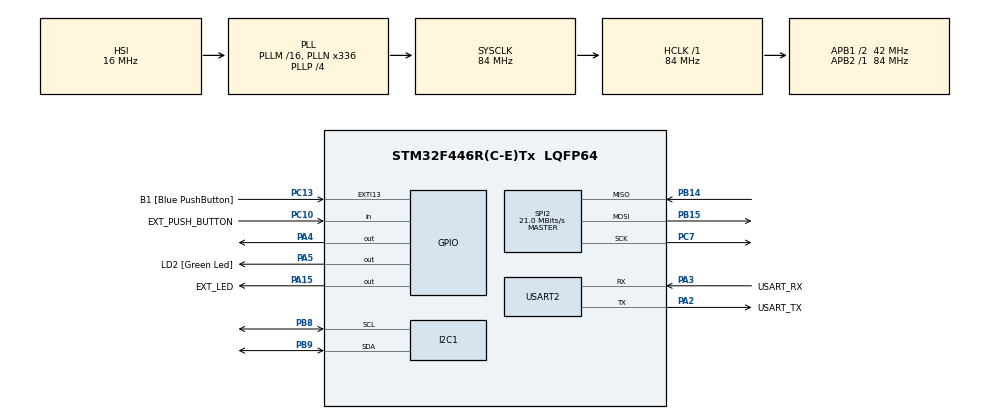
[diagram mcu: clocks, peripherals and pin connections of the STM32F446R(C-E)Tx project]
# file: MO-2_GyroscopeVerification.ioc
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Dma.I2C1_RX.1.Direction=DMA_PERIPH_TO_MEMORY
Dma.I2C1_RX.1.FIFOMode=DMA_FIFOMODE_DISABLE
Dma.I2C1_RX.1.Instance=DMA1_Stream0
Dma.I2C1_RX.1.MemDataAlignment=DMA_MDATAALIGN_BYTE
Dma.I2C1_RX.1.MemInc=DMA_MINC_ENABLE
Dma.I2C1_RX.1.Mode=DMA_NORMAL
Dma.I2C1_RX.1.PeriphDataAlignment=DMA_PDATAALIGN_BYTE
Dma.I2C1_RX.1.PeriphInc=DMA_PINC_DISABLE
Dma.I2C1_RX.1.Priority=DMA_PRIORITY_LOW
Dma.I2C1_TX.0.Direction=DMA_MEMORY_TO_PERIPH
Dma.I2C1_TX.0.FIFOMode=DMA_FIFOMODE_DISABLE
Dma.I2C1_TX.0.Instance=DMA1_Stream6
Dma.I2C1_TX.0.MemDataAlignment=DMA_MDATAALIGN_BYTE
Dma.I2C1_TX.0.MemInc=DMA_MINC_ENABLE
Dma.I2C1_TX.0.Mode=DMA_NORMAL
Dma.I2C1_TX.0.PeriphDataAlignment=DMA_PDATAALIGN_BYTE
Dma.I2C1_TX.0.PeriphInc=DMA_PINC_DISABLE
Dma.I2C1_TX.0.Priority=DMA_PRIORITY_LOW
Dma.Request0=I2C1_TX
Dma.Request1=I2C1_RX
Mcu.Family=STM32F4
Mcu.Name=STM32F446R(C-E)Tx
Mcu.Package=LQFP64
NVIC.DMA1_Stream0_IRQn=true\:0\:0\:false\:false\:true\:false\:true\:true
NVIC.DMA1_Stream6_IRQn=true\:0\:0\:false\:false\:true\:false\:true\:true
NVIC.PriorityGroup=NVIC_PRIORITYGROUP_0
PA13.GPIO_Label=TMS
PA13.Mode=Serial_Wire
PA13.Signal=SYS_JTMS-SWDIO
PA14.GPIO_Label=TCK
PA14.Mode=Serial_Wire
PA14.Signal=SYS_JTCK-SWCLK
PA15.GPIO_Label=EXT_LED
PA15.GPIO_Speed=GPIO_SPEED_FREQ_HIGH
PA15.Signal=GPIO_Output
PA2.GPIO_Label=USART_TX
PA2.Mode=Asynchronous
PA2.Signal=USART2_TX
PA3.GPIO_Label=USART_RX
PA3.Mode=Asynchronous
PA3.Signal=USART2_RX
PA4.GPIO_PuPd=GPIO_PULLUP
PA4.Signal=GPIO_Output
PA5.GPIO_Label=LD2 [Green Led]
PA5.Signal=GPIO_Output
PB14.GPIO_PuPd=GPIO_PULLUP
PB14.Mode=Full_Duplex_Master
PB14.Signal=SPI2_MISO
PB15.GPIO_PuPd=GPIO_PULLUP
PB15.Mode=Full_Duplex_Master
PB15.Signal=SPI2_MOSI
PB3.GPIO_Label=SWO
PB3.Signal=SYS_JTDO-SWO
PB8.GPIO_Pu=GPIO_PULLUP
PB8.Mode=I2C
PB8.Signal=I2C1_SCL
PB9.GPIO_Pu=GPIO_PULLUP
PB9.Mode=I2C
PB9.Signal=I2C1_SDA
PC10.GPIO_Label=EXT_PUSH_BUTTON
PC10.GPIO_PuPd=GPIO_PULLUP
PC10.Signal=GPIO_Input
PC13.GPIO_Label=B1 [Blue PushButton]
PC13.GPIO_ModeDefaultEXTI=GPIO_MODE_IT_FALLING
PC13.Signal=GPXTI13
PC14-OSC32_IN.Mode=LSE-External-Oscillator
PC14-OSC32_IN.Signal=RCC_OSC32_IN
PC15-OSC32_OUT.Mode=LSE-External-Oscillator
PC15-OSC32_OUT.Signal=RCC_OSC32_OUT
PC7.GPIO_PuPd=GPIO_PULLUP
PC7.Mode=Full_Duplex_Master
PC7.Signal=SPI2_SCK
PH0-OSC_IN.Mode=HSE-External-Oscillator
PH0-OSC_IN.Signal=RCC_OSC_IN
PH1-OSC_OUT.Mode=HSE-External-Oscillator
PH1-OSC_OUT.Signal=RCC_OSC_OUT
ProjectManager.HeapSize=0x200
ProjectManager.StackSize=0x400
ProjectManager.TargetToolchain=STM32CubeIDE
RCC.48MHZClocksFreq_Value=84000000
RCC.AHBFreq_Value=84000000
RCC.APB1CLKDivider=RCC_HCLK_DIV2
RCC.APB1Freq_Value=42000000
RCC.APB1TimFreq_Value=84000000
RCC.APB2Freq_Value=84000000
RCC.APB2TimFreq_Value=84000000
RCC.CortexFreq_Value=84000000
RCC.FLatency-AdvancedSettings=FLASH_LATENCY_2
RCC.HCLKFreq_Value=84000000
RCC.HSE_VALUE=8000000
RCC.HSI_VALUE=16000000
RCC.PLLN=336
RCC.PLLP=RCC_PLLP_DIV4
RCC.SYSCLKFreq_VALUE=84000000
RCC.SYSCLKSource=RCC_SYSCLKSOURCE_PLLCLK
RCC.USBFreq_Value=168000000
RCC.VCOOutputFreq_Value=336000000
SPI2.CalculateBaudRate=21.0 MBits/s
SPI2.Direction=SPI_DIRECTION_2LINES
SPI2.Mode=SPI_MODE_MASTER
SPI2.VirtualType=VM_MASTER
USART2.VirtualMode=VM_ASYNC
board=NUCLEO-F446RE

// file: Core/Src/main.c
/* USER CODE BEGIN Header */
/**
  ******************************************************************************
  * @file           : main.c
  * @brief          : Main program body
  ******************************************************************************
  * @attention
  *
  * Copyright (c) 2025 STMicroelectronics.
  * All rights reserved.
  *
  * This software is licensed under terms that can be found in the LICENSE file
  * in the root directory of this software component.
  * If no LICENSE file comes with this software, it is provided AS-IS.
  *
  ******************************************************************************
  */
/* USER CODE END Header */
#include "main.h"

/* USER CODE BEGIN Includes */
#include <stdio.h>
#include <string.h>
/* USER CODE END Includes */

/* USER CODE BEGIN PD */

// Flash Memory
#define FLASH_CS_LOW()   				HAL_GPIO_WritePin(GPIOA, GPIO_PIN_4, GPIO_PIN_RESET)
#define FLASH_CS_HIGH()  				HAL_GPIO_WritePin(GPIOA, GPIO_PIN_4, GPIO_PIN_SET)

#define FLASH_JEDEC_ID_LEN  			3
#define FLASH_PAGE_SIZE                 256

#define FLASH_CMD_READ_STATUS_REGISTER	0x05
#define FLASH_CMD_WRITE_ENABLE		    0x06
#define FLASH_CMD_WRITE_STATUS_REG      0x01
#define FLASH_CMD_SECTOR_ERASE_4K       0x20
#define FLASH_CMD_READ_DATA     		0x03
#define FLASH_CMD_READ_ID     		    0x9F
#define FLASH_CMD_PAGE_PROGRAM          0x02

// Gyroscope
#define L3G4200D_ADDR       			(0x69 << 1)
#define L3G4200D_WHO_AM_I   			0x0F
#define L3G4200D_CTRL_REG1  			0x20
#define L3G4200D_CTRL_REG4  			0x23
#define L3G4200D_OUT_X_L    			0x28

// Test Configuration
#define LOG_DURATION_MS                 120000  // 120s (2 min) cycle
#define SAMPLE_PERIOD_MS                10      // 10ms = 100Hz
#define TEST_HEADER_MARKER              0xAA55  // Number for data start

/* USER CODE END PD */

I2C_HandleTypeDef hi2c1;
DMA_HandleTypeDef hdma_i2c1_tx;
DMA_HandleTypeDef hdma_i2c1_rx;

SPI_HandleTypeDef hspi2;

UART_HandleTypeDef huart2;

/* USER CODE BEGIN PV */
// Global Test Variables
uint32_t current_flash_addr = 0x000000;
uint8_t  test_cycle_id = 1;
/* USER CODE END PV */

void SystemClock_Config(void);
static void MX_GPIO_Init(void);
static void MX_DMA_Init(void);
static void MX_USART2_UART_Init(void);
static void MX_SPI2_Init(void);
static void MX_I2C1_Init(void);

/* USER CODE BEGIN 0 */

// UART Helper
void UART_Print(char *msg)
{
    HAL_UART_Transmit(&huart2, (uint8_t*)msg, strlen(msg), HAL_MAX_DELAY);
}

// Flash Memory Driver Functions

/**
  * @brief  Reads the 8-bit Status Register to determine device state.
  * @note   Implements "Command Set READ REGISTER Operations - READ STATUS REGISTER (05h)".
  * @retval uint8_t: The current value of the Status Register.
  */
uint8_t Flash_ReadStatus(void) {
    uint8_t cmd = FLASH_CMD_READ_STATUS_REGISTER;
    uint8_t status;

    FLASH_CS_LOW();

    HAL_SPI_Transmit(&hspi2, &cmd, 1, HAL_MAX_DELAY);
    HAL_SPI_Receive(&hspi2, &status, 1, HAL_MAX_DELAY);

    FLASH_CS_HIGH();

    return status;
}

/**
  * @brief  Polls Status Register Bit 0 (Write in progress) to wait for internal operations to complete.
  * @note   Blocks execution while the Flash is BUSY (Bit 0 = 1).
  * Waits for WRITE, PROGRAM, or ERASE cycles to finish before returning (Ready = 0).
  */
void Flash_WaitForWriteEnd(void) {
    while (Flash_ReadStatus() & 0x01);
}

/**
  * @brief  Sets the Write Enable Latch (WEL) bit in the Status Register.
  * @note   Implements "Command Set WRITE Operations - WRITE ENABLE (06h)".
  * @retval None
  */
void Flash_WriteEnable(void) {
    uint8_t cmd = FLASH_CMD_WRITE_ENABLE;

    FLASH_CS_LOW();

    HAL_SPI_Transmit(&hspi2, &cmd, 1, HAL_MAX_DELAY);

    FLASH_CS_HIGH();

    HAL_Delay(1);
}

/**
  * @brief  Clears Block Protection bits (BP) in the Status Register.
  * @note   Implements "Command Set WRITE REGISTER Operations - WRITE STATUS REGISTER (01h)".
  * Transaction is 8-bit Command + 8-bit Data.
  * Writing 0x00 clears bits 7:2 (BP bits), disabling software protection.
  * @retval None
  */
void Flash_ClearWriteProtect(void) {
    Flash_WriteEnable();

    // Command 0x01 + 1 Data Byte (0x00)
    uint8_t cmd[] = { FLASH_CMD_WRITE_STATUS_REG, 0x00 };

    FLASH_CS_LOW();

    HAL_SPI_Transmit(&hspi2, cmd, sizeof(cmd), HAL_MAX_DELAY);

    FLASH_CS_HIGH();

    Flash_WaitForWriteEnd();
}

/**
  * @brief  Erases a 4KB Subsector (Sets all bits to 1 / 0xFF).
  * @note   Implements "Command Set ERASE Operations - SUBSECTOR ERASE (20h)".
  * - An ERASE operation changes bits from 0 to 1.
  * - Any address within the subsector is valid for entry.
  * - The Write Enable Latch (WEL) is automatically cleared to 0
  * when the operation completes, regardless of success.
  * @param  address: Any 24-bit address inside the target 4KB sector.
  */
void Flash_Erase4K(uint32_t address) {

    // Before any ERASE command WRITE ENABLE command must be executed
    Flash_WriteEnable();

    uint8_t cmd[] = {
        FLASH_CMD_SECTOR_ERASE_4K,
        (address >> 16) & 0xFF,     // Address High Byte
        (address >> 8) & 0xFF,      // Address Mid Byte
        address & 0xFF              // Address Low Byte
    };

    // S# is driven LOW and held LOW until the eighth bit of the last data byte
    FLASH_CS_LOW();

    HAL_SPI_Transmit(&hspi2, cmd, sizeof(cmd), HAL_MAX_DELAY);

    // After which [S#] must be driven HIGH
    // If S# is not driven HIGH, the command is not executed
    FLASH_CS_HIGH();

    // When the operation is in progress the write in progress bit is set to 1
    Flash_WaitForWriteEnd();
}

/**
  * @brief  Reads a single byte from a specific address.
  * @note   Implements "Command Set READ MEMORY Operations - READ (03h)".
  * - Supports 3-byte addressing (A[23:0]).
  * @param  address: 24-bit Flash address.
  * @retval uint8_t: The data byte read from memory.
  */
uint8_t Flash_ReadByte(uint32_t address) {
    uint8_t recv_data = 0;

    // Command 0x03 + 3 Bytes of Address
    uint8_t cmd[] = {
        FLASH_CMD_READ_DATA,        // 0x03
        (address >> 16) & 0xFF,     // Address High
        (address >> 8) & 0xFF,      // Address Mid
        address & 0xFF              // Address Low
    };

    // To initiate a command, S# is driven LOW
    FLASH_CS_LOW();

    // Command code is input, followed by input of the address bytes
    HAL_SPI_Transmit(&hspi2, cmd, sizeof(cmd), HAL_MAX_DELAY);

    // The device will output data from the selected address
    HAL_SPI_Receive(&hspi2, &recv_data, 1, HAL_MAX_DELAY);

    // The operation is terminated by driving S# HIGH
    FLASH_CS_HIGH();

    return recv_data;
}

/**
  * @brief  Reads the 3-byte JEDEC Device ID.
  * @note   Implements "Command Set READ ID Operations - READ ID (9E/9Fh)".
  * - Bytes returned: [1: Manufacturer] [2: Memory Type] [3: Capacity]
  * - WARNING: If an ERASE or PROGRAM cycle is in progress, this command
  * is NOT decoded and the command cycle in progress is not affected.
  * (The chip will likely return garbage or 0xFF if busy).
  */
void Flash_ReadID(void) {
    uint8_t cmd = FLASH_CMD_READ_ID;

    uint8_t id[FLASH_JEDEC_ID_LEN];

    FLASH_CS_LOW();

    // Send Command 0x9F
    HAL_SPI_Transmit(&hspi2, &cmd, 1, HAL_MAX_DELAY);

    // Receive 3 Bytes of ID Data
    HAL_SPI_Receive(&hspi2, id, sizeof(id), HAL_MAX_DELAY);

    FLASH_CS_HIGH();

    char msg[64];

    sprintf(msg, "Flash ID: %02X %02X %02X\r\n", id[0], id[1], id[2]);

    UART_Print(msg);
}

/**
  * @brief  Debug function to verify SPI communication and Write Enable logic.
  * @note   Performs a "Write Enable" (06h) followed by a "Read Status" (05h).
  * Purpose:
  * 1. Confirms the chip is listening to commands.
  * 2. Verifies that Bit 1 (WEL - Write Enable Latch) successfully latches to '1'.
  * * Expected Output: Status Register should have Bit 1 set (e.g., 0x02).
  * If Output is 0x00, SPI communication is likely failing or the chip is hardware-locked.
  */
void Test_WriteEnable_Status(void) {

    Flash_WriteEnable();

    HAL_Delay(1);

    uint8_t status = Flash_ReadStatus();

    char msg[64];

    sprintf(msg, "After WREN, Status Reg: 0x%02X\r\n", status);

    UART_Print(msg);
}

/**
  * @brief  Writes a buffer of data to a specific address.
  * @note   Implements "Command Set PROGRAM Operations - PAGE PROGRAM (02h)".
  * Optimization: Writes multiple bytes in one transaction to save time.
  * WARNING: Cannot cross Page Boundaries (256-byte blocks).
  * Ensure (address % 256) + len <= 256.
  * @param  address: 24-bit Flash address.
  * @param  data: Pointer to data buffer.
  * @param  len: Number of bytes to write.
  */
void Flash_WriteBuffer(uint32_t address, uint8_t *data, uint16_t len) {
    Flash_WriteEnable();

    uint8_t cmd[] = {
        FLASH_CMD_PAGE_PROGRAM, // 0x02
        (address >> 16) & 0xFF,
        (address >> 8) & 0xFF,
        address & 0xFF
    };

    FLASH_CS_LOW();

    // 1. Send Command + Address
    HAL_SPI_Transmit(&hspi2, cmd, sizeof(cmd), HAL_MAX_DELAY);

    // 2. Send the Data Buffer
    HAL_SPI_Transmit(&hspi2, data, len, HAL_MAX_DELAY);

    FLASH_CS_HIGH();

    // 3. Wait ONCE for the whole buffer to be written
    Flash_WaitForWriteEnd();
}

void Flash_WriteByte(uint32_t address, uint8_t data) {
    Flash_WriteBuffer(address, &data, 1);
}

// Gyroscope Driver Functions

/**
  * @brief  Reads a single byte from a specific L3G4200D register.
  * @param  reg: The register address to read from.
  * @retval uint8_t: The value read from the register.
  */
uint8_t L3G4200D_ReadByte(uint8_t reg)
{
    uint8_t data;
    HAL_I2C_Mem_Read(&hi2c1, L3G4200D_ADDR, reg, I2C_MEMADD_SIZE_8BIT, &data, 1, 100);
    return data;
}

/**
  * @brief  Writes a single byte to a specific L3G4200D register.
  * @param  reg: The register address to write to.
  * @param  value: The data to write.
  */
void L3G4200D_WriteByte(uint8_t reg, uint8_t value)
{
    HAL_I2C_Mem_Write(&hi2c1, L3G4200D_ADDR, reg, I2C_MEMADD_SIZE_8BIT, &value, 1, 100);
}

/**
  * @brief  Initializes the L3G4200D Gyroscope.
  */
void L3G4200D_Init(void)
{
    // 1. Check Device ID
    uint8_t who_am_i = L3G4200D_ReadByte(L3G4200D_WHO_AM_I);

    if (who_am_i != 0xD3) {
        UART_Print("ERR: Gyro not found!\r\n");
        Error_Handler();
    }
    else
    {
        UART_Print("Gyro Detected.\r\n");
    }

    // 2. Configure Power and Axes (CTRL_REG1)
    // Register Address: 0x20
    // We write 0x0F (Binary 0000 1111) which corresponds to:
    // Bits 7-6 (DR/BW): 00 -> ODR 100Hz, Cut-Off 12.5Hz
    // Bit 3 (PD): 1 -> Normal Mode
    // Bits 2-0 (Zen, Yen, Xen): 111 -> All axes enabled
    L3G4200D_WriteByte(L3G4200D_CTRL_REG1, 0x0F);

    // 3. Configure Full Scale (CTRL_REG4)
    // Register Address: 0x23
    // We write 0x00 (Binary 0000 0000) which corresponds to:
    // Bit 7 (BDU): 0 -> Continuous Update
    // Bit 6 (BLE): 0 -> Data LSB @ lower address (Little Endian)
    // Bits 5-4 (FS): 00 -> 250 dps
    L3G4200D_WriteByte(L3G4200D_CTRL_REG4, 0x00);
}

/**
  * @brief  Reads X, Y, and Z axis raw data from the gyroscope.
  * @note   Uses I2C "Multiple Byte Read" via address auto-increment.
  * If the MSb of the SUB field is 1, the SUB (register address) is automatically incremented.
  */
void L3G4200D_ReadGyro(int16_t *x, int16_t *y, int16_t *z)
{
    uint8_t buf[6];

    // Read 6 bytes starting from OUT_X_L (0x28).
    // Logic: 0x28 (Register) | 0x80 (Auto-Increment Bit)
    // This allows reading X_L, X_H, Y_L, Y_H, Z_L, Z_H in one burst.
    HAL_I2C_Mem_Read(&hi2c1, L3G4200D_ADDR, L3G4200D_OUT_X_L | 0x80, I2C_MEMADD_SIZE_8BIT, buf, 6, 100);

    // Reassemble the data.
    // (BLE bit): Default is 0 (Little Endian).
    // Therefore, Low Byte is at Lower Address (index 0, 2, 4).
    *x = (int16_t)(buf[1] << 8 | buf[0]);
    *y = (int16_t)(buf[3] << 8 | buf[2]);
    *z = (int16_t)(buf[5] << 8 | buf[4]);
}

// Chamber Test Logic

void Perform_Bulk_Erase(void) {
    UART_Print("CMD: Erasing 512KB (Wait ~5s)...\r\n");
    HAL_GPIO_WritePin(EXT_LED_GPIO_Port, EXT_LED_Pin, GPIO_PIN_SET); // LED ON

    // Erase enough for ~10 cycles of 60s @ 100Hz (~360KB needed)
    // Erasing 0x000000 to 0x080000 (512KB)
    for (uint32_t addr = 0; addr < 0x080000; addr += 4096) {
        Flash_Erase4K(addr);
    }

    current_flash_addr = 0x000000;
    test_cycle_id = 1;

    HAL_GPIO_WritePin(EXT_LED_GPIO_Port, EXT_LED_Pin, GPIO_PIN_RESET); // LED OFF
    UART_Print("DONE: Flash Erased.\r\n");
}

void Retrieve_Data(void) {
    UART_Print("--- START DATA ---\r\n");

    uint32_t ptr = 0;
    // Limit search to 512KB to prevent reading forever
    const uint32_t SEARCH_LIMIT = 0x080000;
    char msg[64];
    while (ptr < SEARCH_LIMIT) {

        // 1) Saltar borde de página
        if ((ptr % FLASH_PAGE_SIZE) > (FLASH_PAGE_SIZE - 6)) {
            ptr += (FLASH_PAGE_SIZE - (ptr % FLASH_PAGE_SIZE));
            continue;
        }

        uint8_t m1 = Flash_ReadByte(ptr);
        uint8_t m2 = Flash_ReadByte(ptr + 1);
        uint16_t marker = (m1 << 8) | m2;

        // 2) HEADER
        if (marker == TEST_HEADER_MARKER) {
            uint8_t cycle = Flash_ReadByte(ptr + 2);
            sprintf(msg, "\r\nCYCLE_ID:%d\r\n", cycle);
            UART_Print(msg);
            ptr += 4;         // avanzas 4
            continue;
        }

        // 3) ZONA VACÍA (fin de datos)
        if (m1 == 0xFF && m2 == 0xFF && Flash_ReadByte(ptr + 2) == 0xFF) {
            UART_Print("--- END DATA (Found Empty Space) ---\r\n");
            return;
        }

        // 4) TODO LO DEMÁS = DATOS
        uint8_t d[6];
        for (int i = 0; i < 6; i++) {
            d[i] = Flash_ReadByte(ptr + i);
        }

        int16_t x = (int16_t)(d[1] << 8 | d[0]);
        int16_t y = (int16_t)(d[3] << 8 | d[2]);
        int16_t z = (int16_t)(d[5] << 8 | d[4]);

        sprintf(msg, "%d,%d,%d\r\n", x, y, z);
        UART_Print(msg);

        ptr += 6;   // SIEMPRE avanzas 6 aquí
    }
    UART_Print("--- END DATA (Limit Reached) ---\r\n");
}

void Run_Logging_Cycle(void) {
	char msg[64];
	sprintf(msg, "LOG: Starting %ds Cycle...\r\n", LOG_DURATION_MS / 1000);
	UART_Print(msg);

    HAL_GPIO_WritePin(EXT_LED_GPIO_Port, EXT_LED_Pin, GPIO_PIN_SET);	// LED Solid ON

    // 1. Write Header
    uint8_t header[4];
    header[0] = (TEST_HEADER_MARKER >> 8) & 0xFF;
    header[1] = (TEST_HEADER_MARKER) & 0xFF;
    header[2] = test_cycle_id;
    header[3] = 0x00;

    // Check page alignment for Header (unlikely to cross, but good practice)
    if ((current_flash_addr % FLASH_PAGE_SIZE) > (FLASH_PAGE_SIZE - 4)) {
        current_flash_addr += (FLASH_PAGE_SIZE - (current_flash_addr % FLASH_PAGE_SIZE));
    }
    Flash_WriteBuffer(current_flash_addr, header, 4);
    current_flash_addr += 4;

    // 2. Logging Loop
    uint32_t start_tick = HAL_GetTick();
    int16_t gx, gy, gz;
    uint8_t data_row[6];

    while ((HAL_GetTick() - start_tick) < LOG_DURATION_MS) {
        uint32_t sample_tick = HAL_GetTick();

        // A. Read Sensor
        L3G4200D_ReadGyro(&gx, &gy, &gz);

        data_row[0] = gx & 0xFF;
        data_row[1] = (gx >> 8) & 0xFF;
        data_row[2] = gy & 0xFF;
        data_row[3] = (gy >> 8) & 0xFF;
        data_row[4] = gz & 0xFF;
        data_row[5] = (gz >> 8) & 0xFF;

        // B. Check Page Boundary
        // If current offset + 6 bytes > 256, move to next page
        if ((current_flash_addr % FLASH_PAGE_SIZE) > (FLASH_PAGE_SIZE - 6)) {
             // Fill remaining bytes with 0xFF (implicit by skipping) or explicit dummy?
             // Skipping is fine, retrieving logic handles 0xFF skipping.
             current_flash_addr += (FLASH_PAGE_SIZE - (current_flash_addr % FLASH_PAGE_SIZE));
        }

        // C. Write Flash
        Flash_WriteBuffer(current_flash_addr, data_row, 6);
        current_flash_addr += 6;

        // D. Wait for 10ms (100Hz)
        while ((HAL_GetTick() - sample_tick) < SAMPLE_PERIOD_MS);
    }

    test_cycle_id++;
    HAL_GPIO_WritePin(EXT_LED_GPIO_Port, EXT_LED_Pin, GPIO_PIN_RESET); // LED OFF
    UART_Print("LOG: Cycle Complete.\r\n");
}

/* USER CODE END 0 */

int main(void)
{

  /* MCU Configuration--------------------------------------------------------*/

  /* Reset of all peripherals, Initializes the Flash interface and the Systick. */
  HAL_Init();

  /* Configure the system clock */
  SystemClock_Config();

  /* Initialize all configured peripherals */
  MX_GPIO_Init();
  MX_DMA_Init();
  MX_USART2_UART_Init();
  MX_SPI2_Init();
  MX_I2C1_Init();
  /* USER CODE BEGIN 2 */
  HAL_Delay(5000);				// User experience delay
  UART_Print("\r\n=== MO-2 GYRO CHAMBER SYSTEM ===\r\n");

  L3G4200D_Init();
  Flash_ReadID();				// Verify SPI Flash
  Flash_ClearWriteProtect();	// Ensure we can write

  UART_Print("IDLE: 'e'=Erase, 'r'=Retrieve, BTN=Log\r\n");

  uint8_t uart_rx;
  /* USER CODE END 2 */

  /* Infinite loop */
  /* USER CODE BEGIN WHILE */
  while (1)
  {
	// 1. Check UART Commands
	if (HAL_UART_Receive(&huart2, &uart_rx, 1, 10) == HAL_OK) {
		if (uart_rx == 'e') Perform_Bulk_Erase();
		if (uart_rx == 'r') Retrieve_Data();
	}

	// 2. Check Button (Active Low)
	if (HAL_GPIO_ReadPin(EXT_PUSH_BUTTON_GPIO_Port, EXT_PUSH_BUTTON_Pin) == GPIO_PIN_RESET) {
	  HAL_Delay(50);	// Debounce
	  if (HAL_GPIO_ReadPin(EXT_PUSH_BUTTON_GPIO_Port, EXT_PUSH_BUTTON_Pin) == GPIO_PIN_RESET) {
		  Run_Logging_Cycle();
		  // Wait for release
		  while(HAL_GPIO_ReadPin(EXT_PUSH_BUTTON_GPIO_Port, EXT_PUSH_BUTTON_Pin) == GPIO_PIN_RESET);
	  }
	}

	// 3. IDLE Blink
	HAL_GPIO_TogglePin(EXT_LED_GPIO_Port, EXT_LED_Pin);
	HAL_Delay(500);

    /* USER CODE END WHILE */

  }
}

void SystemClock_Config(void)
{
  RCC_OscInitTypeDef RCC_OscInitStruct = {0};
  RCC_ClkInitTypeDef RCC_ClkInitStruct = {0};

  /** Configure the main internal regulator output voltage
  */
  __HAL_RCC_PWR_CLK_ENABLE();
  __HAL_PWR_VOLTAGESCALING_CONFIG(PWR_REGULATOR_VOLTAGE_SCALE3);

  /** Initializes the RCC Oscillators according to the specified parameters
  * in the RCC_OscInitTypeDef structure.
  */
  RCC_OscInitStruct.OscillatorType = RCC_OSCILLATORTYPE_HSI;
  RCC_OscInitStruct.HSIState = RCC_HSI_ON;
  RCC_OscInitStruct.HSICalibrationValue = RCC_HSICALIBRATION_DEFAULT;
  RCC_OscInitStruct.PLL.PLLState = RCC_PLL_ON;
  RCC_OscInitStruct.PLL.PLLSource = RCC_PLLSOURCE_HSI;
  RCC_OscInitStruct.PLL.PLLM = 16;
  RCC_OscInitStruct.PLL.PLLN = 336;
  RCC_OscInitStruct.PLL.PLLP = RCC_PLLP_DIV4;
  RCC_OscInitStruct.PLL.PLLQ = 2;
  RCC_OscInitStruct.PLL.PLLR = 2;
  if (HAL_RCC_OscConfig(&RCC_OscInitStruct) != HAL_OK)
  {
    Error_Handler();
  }

  /** Initializes the CPU, AHB and APB buses clocks
  */
  RCC_ClkInitStruct.ClockType = RCC_CLOCKTYPE_HCLK|RCC_CLOCKTYPE_SYSCLK
                              |RCC_CLOCKTYPE_PCLK1|RCC_CLOCKTYPE_PCLK2;
  RCC_ClkInitStruct.SYSCLKSource = RCC_SYSCLKSOURCE_PLLCLK;
  RCC_ClkInitStruct.AHBCLKDivider = RCC_SYSCLK_DIV1;
  RCC_ClkInitStruct.APB1CLKDivider = RCC_HCLK_DIV2;
  RCC_ClkInitStruct.APB2CLKDivider = RCC_HCLK_DIV1;

  if (HAL_RCC_ClockConfig(&RCC_ClkInitStruct, FLASH_LATENCY_2) != HAL_OK)
  {
    Error_Handler();
  }
}

static void MX_I2C1_Init(void)
{

  hi2c1.Instance = I2C1;
  hi2c1.Init.ClockSpeed = 100000;
  hi2c1.Init.DutyCycle = I2C_DUTYCYCLE_2;
  hi2c1.Init.OwnAddress1 = 0;
  hi2c1.Init.AddressingMode = I2C_ADDRESSINGMODE_7BIT;
  hi2c1.Init.DualAddressMode = I2C_DUALADDRESS_DISABLE;
  hi2c1.Init.OwnAddress2 = 0;
  hi2c1.Init.GeneralCallMode = I2C_GENERALCALL_DISABLE;
  hi2c1.Init.NoStretchMode = I2C_NOSTRETCH_DISABLE;
  if (HAL_I2C_Init(&hi2c1) != HAL_OK)
  {
    Error_Handler();
  }

}

static void MX_SPI2_Init(void)
{

  /* SPI2 parameter configuration*/
  hspi2.Instance = SPI2;
  hspi2.Init.Mode = SPI_MODE_MASTER;
  hspi2.Init.Direction = SPI_DIRECTION_2LINES;
  hspi2.Init.DataSize = SPI_DATASIZE_8BIT;
  hspi2.Init.CLKPolarity = SPI_POLARITY_LOW;
  hspi2.Init.CLKPhase = SPI_PHASE_1EDGE;
  hspi2.Init.NSS = SPI_NSS_SOFT;
  hspi2.Init.BaudRatePrescaler = SPI_BAUDRATEPRESCALER_2;
  hspi2.Init.FirstBit = SPI_FIRSTBIT_MSB;
  hspi2.Init.TIMode = SPI_TIMODE_DISABLE;
  hspi2.Init.CRCCalculation = SPI_CRCCALCULATION_DISABLE;
  hspi2.Init.CRCPolynomial = 10;
  if (HAL_SPI_Init(&hspi2) != HAL_OK)
  {
    Error_Handler();
  }

}

static void MX_USART2_UART_Init(void)
{

  huart2.Instance = USART2;
  huart2.Init.BaudRate = 115200;
  huart2.Init.WordLength = UART_WORDLENGTH_8B;
  huart2.Init.StopBits = UART_STOPBITS_1;
  huart2.Init.Parity = UART_PARITY_NONE;
  huart2.Init.Mode = UART_MODE_TX_RX;
  huart2.Init.HwFlowCtl = UART_HWCONTROL_NONE;
  huart2.Init.OverSampling = UART_OVERSAMPLING_16;
  if (HAL_UART_Init(&huart2) != HAL_OK)
  {
    Error_Handler();
  }

}

static void MX_DMA_Init(void)
{

  /* DMA controller clock enable */
  __HAL_RCC_DMA1_CLK_ENABLE();

  /* DMA interrupt init */
  /* DMA1_Stream0_IRQn interrupt configuration */
  HAL_NVIC_SetPriority(DMA1_Stream0_IRQn, 0, 0);
  HAL_NVIC_EnableIRQ(DMA1_Stream0_IRQn);
  /* DMA1_Stream6_IRQn interrupt configuration */
  HAL_NVIC_SetPriority(DMA1_Stream6_IRQn, 0, 0);
  HAL_NVIC_EnableIRQ(DMA1_Stream6_IRQn);

}

static void MX_GPIO_Init(void)
{
  GPIO_InitTypeDef GPIO_InitStruct = {0};

  /* GPIO Ports Clock Enable */
  __HAL_RCC_GPIOC_CLK_ENABLE();
  __HAL_RCC_GPIOH_CLK_ENABLE();
  __HAL_RCC_GPIOA_CLK_ENABLE();
  __HAL_RCC_GPIOB_CLK_ENABLE();

  /*Configure GPIO pin Output Level */
  HAL_GPIO_WritePin(GPIOA, GPIO_PIN_4|LD2_Pin|EXT_LED_Pin, GPIO_PIN_RESET);

  /*Configure GPIO pin : B1_Pin */
  GPIO_InitStruct.Pin = B1_Pin;
  GPIO_InitStruct.Mode = GPIO_MODE_IT_FALLING;
  GPIO_InitStruct.Pull = GPIO_NOPULL;
  HAL_GPIO_Init(B1_GPIO_Port, &GPIO_InitStruct);

  /*Configure GPIO pin : PA4 */
  GPIO_InitStruct.Pin = GPIO_PIN_4;
  GPIO_InitStruct.Mode = GPIO_MODE_OUTPUT_PP;
  GPIO_InitStruct.Pull = GPIO_PULLUP;
  GPIO_InitStruct.Speed = GPIO_SPEED_FREQ_LOW;
  HAL_GPIO_Init(GPIOA, &GPIO_InitStruct);

  /*Configure GPIO pin : LD2_Pin */
  GPIO_InitStruct.Pin = LD2_Pin;
  GPIO_InitStruct.Mode = GPIO_MODE_OUTPUT_PP;
  GPIO_InitStruct.Pull = GPIO_NOPULL;
  GPIO_InitStruct.Speed = GPIO_SPEED_FREQ_LOW;
  HAL_GPIO_Init(LD2_GPIO_Port, &GPIO_InitStruct);

  /*Configure GPIO pin : EXT_LED_Pin */
  GPIO_InitStruct.Pin = EXT_LED_Pin;
  GPIO_InitStruct.Mode = GPIO_MODE_OUTPUT_PP;
  GPIO_InitStruct.Pull = GPIO_NOPULL;
  GPIO_InitStruct.Speed = GPIO_SPEED_FREQ_HIGH;
  HAL_GPIO_Init(EXT_LED_GPIO_Port, &GPIO_InitStruct);

  /*Configure GPIO pin : EXT_PUSH_BUTTON_Pin */
  GPIO_InitStruct.Pin = EXT_PUSH_BUTTON_Pin;
  GPIO_InitStruct.Mode = GPIO_MODE_INPUT;
  GPIO_InitStruct.Pull = GPIO_PULLUP;
  HAL_GPIO_Init(EXT_PUSH_BUTTON_GPIO_Port, &GPIO_InitStruct);

}

void Error_Handler(void)
{
  __disable_irq();
  while (1)
  {
  }
}
